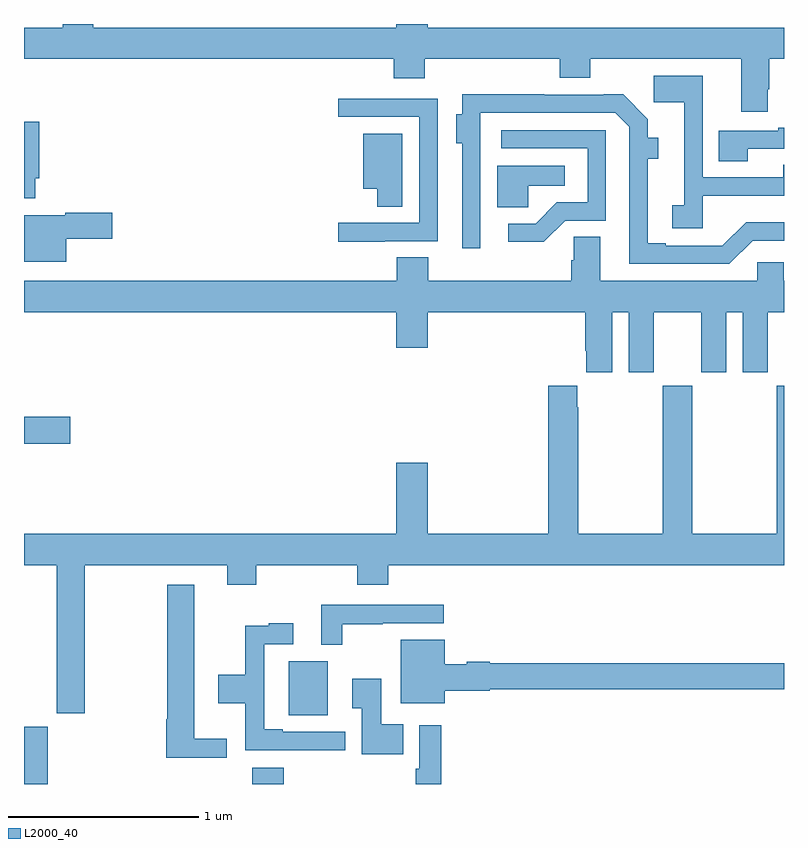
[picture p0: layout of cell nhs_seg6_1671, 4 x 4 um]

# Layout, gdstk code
import gdstk
lib = gdstk.Library(unit=1e-6, precision=1e-09)
def R(c, l, rs):  # rectangles x0, y0, x1, y1
    for r in rs: c.add(gdstk.rectangle(r[:2], r[2:], *l))
def P(c, l, *ps):  # polygons
    for p in ps: c.add(gdstk.Polygon(p, *l))
L2000_40 = (2000, 40)

nhs_seg6_1671 = lib.new_cell('nhs_seg6_1671')
R(nhs_seg6_1671, L2000_40, [(211,963.5,211.126,963.801), (212.201,963.5,212.366,963.586), (212.393,963.863,212.599,964.147), (211,965.29,211.243,965.432)])
P(nhs_seg6_1671, L2000_40, [(214.915,967.156),(214.923,967.156),(214.923,967.316),(215,967.316),(215,967.48),(213.124,967.48),(213.124,967.5),(212.96,967.5),(212.96,967.48),(211.364,967.48),(211.364,967.5),(211.204,967.5),(211.204,967.48),(211,967.48),(211,967.316),(212.945,967.316),(212.945,967.214),(213.11,967.214),(213.11,967.316),(213.821,967.316),(213.821,967.217),(213.981,967.217),(213.981,967.316),(214.775,967.316),(214.775,967.038),(214.915,967.038)],
  [(214.572,966.596),(215,966.596),(215,966.758),(214.996,966.758),(214.996,966.693),(214.572,966.693),(214.572,967.228),(214.314,967.228),(214.314,967.089),(214.475,967.089),(214.475,966.546),(214.413,966.546),(214.413,966.426),(214.572,966.426)],
  [(214.836,966.36),(215,966.36),(215,966.457),(214.8,966.457),(214.676,966.333),(214.378,966.333),(214.378,966.346),(214.282,966.346),(214.282,966.792),(214.339,966.792),(214.339,966.902),(214.283,966.902),(214.283,967),(214.153,967.13),(214.052,967.13),(214.052,967.128),(213.737,967.128),(213.737,967.13),(213.306,967.13),(213.306,967.024),(213.275,967.024),(213.275,966.872),(213.306,966.872),(213.306,966.321),(213.402,966.321),(213.402,967.032),(214.113,967.032),(214.185,966.96),(214.185,966.237),(214.713,966.237)],
  [(212.899,966.357),(213.177,966.357),(213.177,967.107),(212.655,967.107),(212.655,967.011),(213.081,967.011),(213.081,966.453),(212.655,966.453),(212.655,966.353),(212.899,966.353)],
  [(211.059,966.688),(211.079,966.688),(211.079,966.985),(211,966.985),(211,966.584),(211.059,966.584)],
  [(214.809,966.843),(215,966.843),(215,966.954),(214.97,966.954),(214.97,966.939),(214.657,966.939),(214.657,966.778),(214.809,966.778)],
  [(213.849,966.465),(214.062,966.465),(214.062,966.942),(213.513,966.942),(213.513,966.846),(213.966,966.846),(213.966,966.561),(213.804,966.561),(213.693,966.45),(213.549,966.45),(213.549,966.353),(213.736,966.353)],
  [(212.992,966.922),(212.786,966.922),(212.786,966.632),(212.858,966.632),(212.858,966.538),(212.992,966.538)],
  [(213.655,966.65),(213.847,966.65),(213.847,966.754),(213.491,966.754),(213.491,966.536),(213.655,966.536)],
  [(211.222,966.371),(211.465,966.371),(211.465,966.506),(211.218,966.506),(211.218,966.493),(211,966.493),(211,966.248),(211.222,966.248)],
  [(214.096,965.984),(214.184,965.984),(214.184,965.667),(214.315,965.667),(214.315,965.984),(214.565,965.984),(214.565,965.667),(214.696,965.667),(214.696,965.984),(214.784,965.984),(214.784,965.667),(214.915,965.667),(214.915,965.984),(215,965.984),(215,966.148),(214.998,966.148),(214.998,966.246),(214.86,966.246),(214.86,966.148),(214.033,966.148),(214.033,966.38),(213.894,966.38),(213.894,966.257),(213.881,966.257),(213.881,966.148),(213.128,966.148),(213.128,966.272),(212.963,966.272),(212.963,966.148),(211,966.148),(211,965.984),(212.96,965.984),(212.96,965.796),(213.124,965.796),(213.124,965.984),(213.953,965.984),(213.953,965.779),(213.959,965.779),(213.959,965.667),(214.096,965.667)],
  [(211.32,964.652),(212.069,964.652),(212.069,964.55),(212.222,964.55),(212.222,964.652),(212.753,964.652),(212.753,964.55),(212.918,964.55),(212.918,964.652),(215,964.652),(215,965.596),(214.963,965.596),(214.963,964.816),(214.518,964.816),(214.518,965.596),(214.363,965.596),(214.363,964.816),(213.918,964.816),(213.918,965.483),(213.913,965.483),(213.913,965.596),(213.758,965.596),(213.758,964.816),(213.124,964.816),(213.124,965.191),(212.96,965.191),(212.96,964.816),(211,964.816),(211,964.652),(211.172,964.652),(211.172,963.873),(211.32,963.873)],
  [(212.068,963.737),(211.897,963.737),(211.897,964.549),(211.753,964.549),(211.753,963.842),(211.748,963.842),(211.748,963.638),(212.068,963.638)],
  [(212.674,964.342),(212.888,964.342),(212.888,964.347),(213.208,964.347),(213.208,964.443),(212.564,964.443),(212.564,964.232),(212.674,964.232)],
  [(212.692,963.774),(212.362,963.774),(212.362,963.787),(212.265,963.787),(212.265,964.236),(212.416,964.236),(212.416,964.345),(212.288,964.345),(212.288,964.334),(212.164,964.334),(212.164,964.074),(212.022,964.074),(212.022,963.926),(212.164,963.926),(212.164,963.678),(212.449,963.678),(212.449,963.677),(212.692,963.677)],
  [(213.214,963.992),(213.45,963.992),(213.45,964),(215,964),(215,964.136),(213.45,964.136),(213.45,964.144),(213.33,964.144),(213.33,964.129),(213.214,964.129),(213.214,964.258),(212.984,964.258),(212.984,963.926),(213.214,963.926)],
  [(212.996,963.814),(212.881,963.814),(212.881,964.054),(212.727,964.054),(212.727,963.898),(212.777,963.898),(212.777,963.656),(212.996,963.656)],
  [(213.197,963.808),(213.081,963.808),(213.081,963.58),(213.061,963.58),(213.061,963.5),(213.197,963.5)])

lib.write_gds('nhs_seg6_1671.gds')
